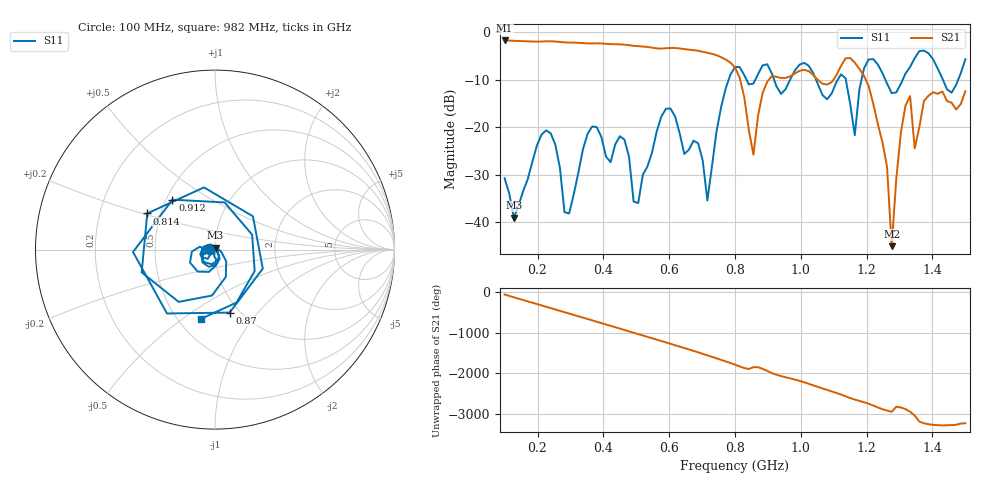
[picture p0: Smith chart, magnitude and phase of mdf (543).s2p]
! NanoVNA-App
! Date: 2025-09-25 15:42:38
! Start: 100MHz Stop: 1,5GHz Points: 101
! S-Parameter data: F S11 S21 S12 S22
# Hz S RI R 50
!  Frequency  S11_Real  S11_Imag  S21_Real  S21_Imag  S12_Real  S12_Imag  S22_Real  S22_Imag
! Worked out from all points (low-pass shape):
!   101 points, 100 MHz to 1.5 GHz, reference 50 ohm
!   highest |S21| = -1.80 dB at 100 MHz (marker M1); lowest = -45.0 dB at 1.276 GHz (marker M2)
!   |S21| within 3 dB of the highest: start of sweep to 739.1 MHz
!   lowest |S11| = -39.0 dB at 128 MHz (marker M3), VSWR 1.02, Z = 50.3 + j1.07 ohm
!   |S11| at or under -10 dB: start of sweep to 781.1 MHz; 1.046 GHz to 1.113 GHz (66.86 MHz wide, 6.19 % of centre); 1.256 GHz to 1.31 GHz (53.36 MHz wide, 4.16 % of centre) (the widest 3 of 7)
!   S12 and S22 are empty: the file has one direction only
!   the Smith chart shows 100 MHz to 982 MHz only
!   S11 on the Smith chart (normalised r, x): 100 MHz: 0.94, -0.01; 814 MHz: 0.42, +0.21; 870 MHz: 0.90, -0.73; 912 MHz: 0.54, +0.35; 982 MHz: 0.64, -0.59
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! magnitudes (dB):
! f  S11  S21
! 100 MHz  -30.7  -1.8
! 128 MHz  -39.0  -1.9
! 212 MHz  -21.6  -2.0
! 282 MHz  -37.9  -2.2
! 338 MHz  -24.7  -2.4
! 464 MHz  -22.6  -2.7
! 506 MHz  -35.9  -3.0
! 576 MHz  -17.8  -3.5
! 716 MHz  -35.4  -4.4
! 800 MHz  -7.4  -7.4
! 814 MHz  -7.4  -9.6
! 856 MHz  -10.9  -25.8
! 870 MHz  -8.9  -17.6
! 912 MHz  -8.7  -9.3
! 982 MHz  -8.1  -8.7
! 1.038 GHz  -8.7  -9.1
! 1.164 GHz  -21.7  -6.5
! 1.206 GHz  -5.8  -11.4
! 1.262 GHz  -10.9  -28.3
! 1.276 GHz  -12.9  -45.0
! 1.318 GHz  -8.7  -15.5
! 1.5 GHz  -5.7  -12.5
